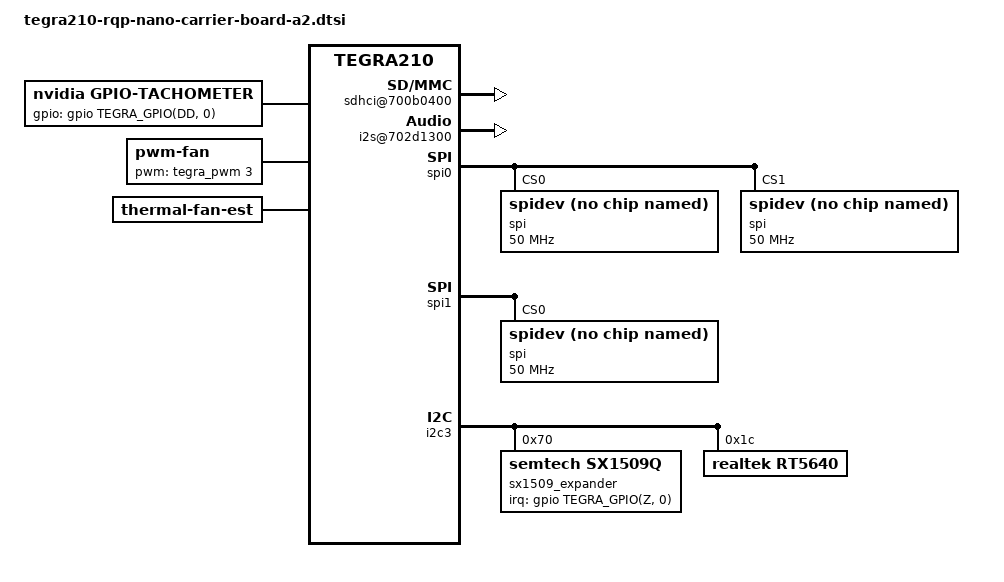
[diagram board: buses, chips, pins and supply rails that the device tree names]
/*
 * Copyright (c) 2021, ADLINK Technology Inc.  All rights reserved.
 *
 * This program is free software; you can redistribute it and/or modify
 * it under the terms of the GNU General Public License as published by
 * the Free Software Foundation; version 2 of the License.
 *
 * This program is distributed in the hope that it will be useful, but WITHOUT
 * ANY WARRANTY; without even the implied warranty of MERCHANTABILITY or
 * FITNESS FOR A PARTICULAR PURPOSE.  See the GNU General Public License for
 * more details.
 */

 /**
 *	External SD card
 */ 
/ {
	sdhci@700b0400 { /* SDMMC3 for SD card */
		status = "okay";
	};
};

/**
 *	External Header 
 */

/**
  *	MRAA SPI0
  */
&spi0 {
	status = "okay";

	spi@0 { /* chip select 0 */
		compatible = "spidev";
		reg = <0x0>;
		spi-max-frequency = <50000000>;
		controller-data {
			nvidia,enable-hw-based-cs;
			nvidia,rx-clk-tap-delay = <0x10>;
			nvidia,tx-clk-tap-delay = <0x0>;
		};
	};

	spi@1 { /* chip select 1 */
		compatible = "spidev";
		reg = <0x1>;
		spi-max-frequency = <50000000>;
		controller-data {
			nvidia,enable-hw-based-cs;
			nvidia,rx-clk-tap-delay = <0x10>;
			nvidia,tx-clk-tap-delay = <0x0>;
		};
	};
};

// BMI160
&spi1 {
	status = "okay";

	spi@0 { /* chip select 0 */
		compatible = "spidev";
		reg = <0x0>;
		spi-max-frequency = <50000000>;
		controller-data {
			nvidia,enable-hw-based-cs;
			nvidia,rx-clk-tap-delay = <0x10>;
			nvidia,tx-clk-tap-delay = <0x0>;
		};
	};
};

&spi2 {
	status = "disabled";
};

&spi3 {
	status = "disabled";
};

/** 
  * 	GPIO Expander SX1509
  */

&i2c3 {

	status = "okay";

	/* for 40 pin GPIO exapnder */
	sx1509_expander: i2c_gpio_expander@70 {
		#gpio-cells = <2>;
		#interrupt-cells = <2>;
		compatible = "semtech,sx1509q";
		reg = <0x70>;
		interrupt-parent = <&gpio>;
		interrupts = <TEGRA_GPIO(Z, 0) GPIO_ACTIVE_LOW>;
		gpio-controller;
		interrupt-controller;
		hdr_line {
			gpio-hog;
			gpios = <
			0 0
			1 0
			2 0
			3 0
			4 0
			5 0
			6 0
			7 0
			8 0
			9 0
			10 0
			11 0
			12 0
			13 0
			14 0
			15 0
			>;
			output-low;
		};
	};	
};

/**
  * @FAN 
  */

/ {
	tachometer {
        compatible = "nvidia,gpio-tachometer";
        win-len = <2>;
        pulse-per-rev = <2>;
        schedule-delay = <10000>;
        gpio = <&gpio TEGRA_GPIO(DD, 0) 0>;
        status = "okay";
    };

	pwm-fan {
		compatible = "pwm-fan";
		status = "okay";
		pwms = <&tegra_pwm 3 45334>;
		shared_data = <&pwm_fan_shared_data>;
		active_pwm = <0 64 128 191 255 255 255 255 255 255>;
	};

	thermal-fan-est {
		name = "thermal-fan-est";
		compatible = "thermal-fan-est";
		status = "okay";
		num_resources = <0>;
		shared_data = <&thermal_fan_est_shared_data>;
		trip_length = <10>;
		active_trip_temps = <0 46000 61000 76000 81000 140000 150000 160000 170000 180000>;
		active_hysteresis = <0 8000 8000 7000 7000 0 0 0 0 0>;
	};
};

/** 
 *	Audio
 */

&i2c3 {
	rt5640: rt5640@1c {
		status = "okay";
		compatible = "realtek,rt5640";
		reg = <0x1c>;
	};
};

/ {
	ahub {
		i2s@702d1300 {
			status = "okay";
		};
	};

	tegra_sound: sound {
		status = "okay";
		compatible = "nvidia,tegra-audio-t210ref-mobile-rt565x";
		nvidia,model = "tegra-snd-t210ref-mobile-rt565x";

		clocks = <&tegra_car TEGRA210_CLK_PLL_A>,
			 <&tegra_car TEGRA210_CLK_PLL_A_OUT0>,
			 <&tegra_car TEGRA210_CLK_EXTERN1>;
		clock-names = "pll_a", "pll_a_out0", "extern1";

		assigned-clocks = <&tegra_car TEGRA210_CLK_EXTERN1>;
		assigned-clock-parents = <&tegra_car TEGRA210_CLK_PLL_A_OUT0>;

		nvidia,num-codec-link = <1>;

		nvidia,audio-routing =
			"x Headphone Jack", "x HPOL",
			"x Headphone Jack", "x HPOR",
			"x IN1P",           "x Mic Jack",
			"x Mic Jack",       "x MICBIAS1";
			
		nvidia,xbar = <&tegra_axbar>;
		mclk-fs = <512>;

		hdr40_snd_link_i2s: i2s_dai_link1: nvidia,dai-link-1 {
			name-prefix = "x";
			link-name = "rt5640-playback";
			cpu-dai = <&tegra_i2s4>;
			cpu-dai-name = "I2S4";
			codec-dai = <&rt5640>;
			codec-dai-name = "rt5640-aif1";
			format = "i2s";
			bit-format = "s16_le";
			srate = <48000>;
			num-channel = <2>;
			status = "okay";
		};

		nvidia,dai-link-2 {
			status = "disabled";
		};

		nvidia,dai-link-3 {
			status = "disabled";
		};

		nvidia,dai-link-4 {
			status = "disabled";
		};

	};
};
